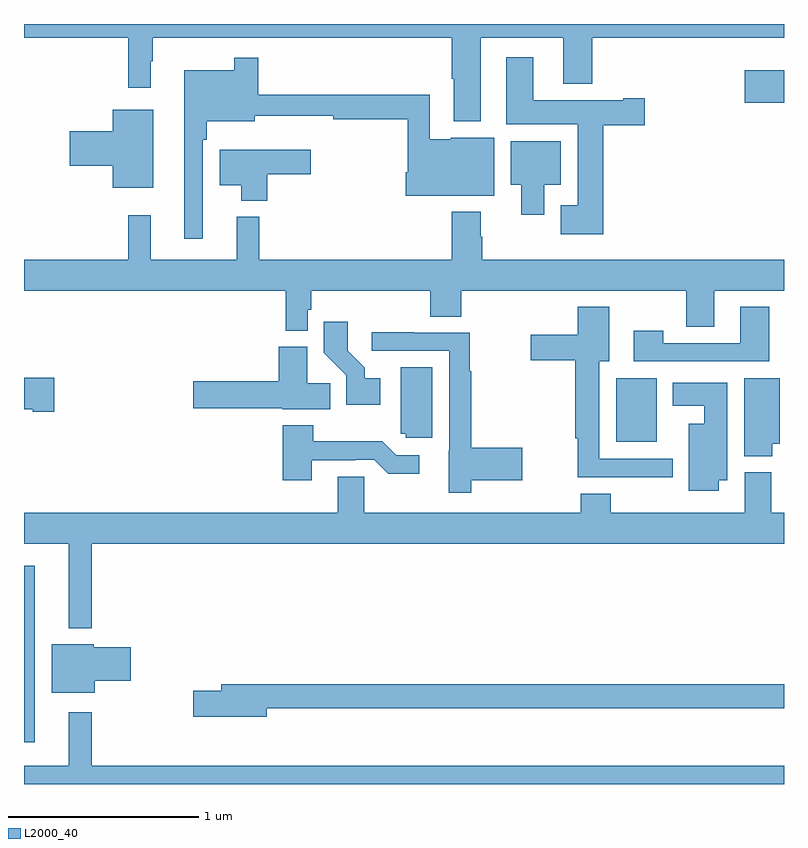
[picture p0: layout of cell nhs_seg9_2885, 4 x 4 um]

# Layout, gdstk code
import gdstk
lib = gdstk.Library(unit=1e-6, precision=1e-09)
def R(c, l, rs):  # rectangles x0, y0, x1, y1
    for r in rs: c.add(gdstk.rectangle(r[:2], r[2:], *l))
def P(c, l, *ps):  # polygons
    for p in ps: c.add(gdstk.Polygon(p, *l))
L2000_40 = (2000, 40)

nhs_seg9_2885 = lib.new_cell('nhs_seg9_2885')
R(nhs_seg9_2885, L2000_40, [(277,1184.721,277.057,1185.649), (280.118,1186.301,280.33,1186.636), (280.794,1188.086,281,1188.256)])
P(nhs_seg9_2885, L2000_40, [(279.403,1188.428),(279.839,1188.428),(279.839,1188.185),(279.992,1188.185),(279.992,1188.428),(281,1188.428),(281,1188.5),(277,1188.5),(277,1188.428),(277.549,1188.428),(277.549,1188.165),(277.666,1188.165),(277.666,1188.305),(277.678,1188.305),(277.678,1188.428),(279.251,1188.428),(279.251,1188.211),(279.263,1188.211),(279.263,1187.987),(279.403,1187.987)],
  [(280.049,1187.966),(280.267,1187.966),(280.267,1188.108),(280.154,1188.108),(280.154,1188.1),(279.679,1188.1),(279.679,1188.325),(279.539,1188.325),(279.539,1187.972),(279.914,1187.972),(279.914,1187.545),(279.824,1187.545),(279.824,1187.393),(280.049,1187.393)],
  [(277.941,1187.891),(277.961,1187.891),(277.961,1187.987),(278.215,1187.987),(278.215,1188.017),(278.627,1188.017),(278.627,1187.998),(279.019,1187.998),(279.019,1187.719),(279.008,1187.719),(279.008,1187.597),(279.475,1187.597),(279.475,1187.902),(279.246,1187.902),(279.246,1187.893),(279.135,1187.893),(279.135,1188.127),(278.234,1188.127),(278.234,1188.322),(278.106,1188.322),(278.106,1188.256),(277.844,1188.256),(277.844,1187.37),(277.941,1187.37)],
  [(277.681,1188.049),(277.466,1188.049),(277.466,1187.936),(277.242,1187.936),(277.242,1187.753),(277.466,1187.753),(277.466,1187.639),(277.681,1187.639)],
  [(279.739,1187.654),(279.826,1187.654),(279.826,1187.884),(279.563,1187.884),(279.563,1187.654),(279.617,1187.654),(279.617,1187.496),(279.739,1187.496)],
  [(278.279,1187.71),(278.509,1187.71),(278.509,1187.839),(278.03,1187.839),(278.03,1187.651),(278.144,1187.651),(278.144,1187.57),(278.279,1187.57)],
  [(278.493,1186.995),(278.513,1186.995),(278.513,1187.096),(279.137,1187.096),(279.137,1186.96),(279.302,1186.96),(279.302,1187.096),(280.486,1187.096),(280.486,1186.906),(280.633,1186.906),(280.633,1187.096),(281,1187.096),(281,1187.26),(279.411,1187.26),(279.411,1187.381),(279.403,1187.381),(279.403,1187.512),(279.251,1187.512),(279.251,1187.26),(278.237,1187.26),(278.237,1187.485),(278.12,1187.485),(278.12,1187.26),(277.667,1187.26),(277.667,1187.494),(277.549,1187.494),(277.549,1187.26),(277,1187.26),(277,1187.096),(278.377,1187.096),(278.377,1186.886),(278.493,1186.886)],
  [(280.922,1187.011),(280.769,1187.011),(280.769,1186.821),(280.365,1186.821),(280.365,1186.885),(280.209,1186.885),(280.209,1186.725),(280.922,1186.725)],
  [(280.414,1186.212),(280.027,1186.212),(280.027,1186.724),(280.081,1186.724),(280.081,1187.011),(279.914,1187.011),(279.914,1186.864),(279.666,1186.864),(279.666,1186.73),(279.902,1186.73),(279.902,1186.319),(279.914,1186.319),(279.914,1186.115),(280.414,1186.115)],
  [(278.875,1186.636),(278.794,1186.636),(278.794,1186.691),(278.704,1186.781),(278.704,1186.933),(278.578,1186.933),(278.578,1186.77),(278.697,1186.651),(278.697,1186.496),(278.875,1186.496)],
  [(279.353,1186.1),(279.622,1186.1),(279.622,1186.271),(279.353,1186.271),(279.353,1186.672),(279.346,1186.672),(279.346,1186.875),(279.053,1186.875),(279.053,1186.878),(278.829,1186.878),(278.829,1186.779),(279.237,1186.779),(279.237,1186.254),(279.236,1186.254),(279.236,1186.032),(279.353,1186.032)],
  [(278.612,1186.61),(278.491,1186.61),(278.491,1186.801),(278.342,1186.801),(278.342,1186.62),(277.89,1186.62),(277.89,1186.478),(278.358,1186.478),(278.358,1186.472),(278.612,1186.472)],
  [(279.148,1186.693),(278.984,1186.693),(278.984,1186.344),(279.009,1186.344),(279.009,1186.323),(279.148,1186.323)],
  [(277.159,1186.638),(277,1186.638),(277,1186.472),(277.046,1186.472),(277.046,1186.46),(277.159,1186.46)],
  [(280.937,1186.292),(280.978,1186.292),(280.978,1186.636),(280.79,1186.636),(280.79,1186.225),(280.937,1186.225)],
  [(280.657,1186.1),(280.702,1186.1),(280.702,1186.612),(280.415,1186.612),(280.415,1186.49),(280.58,1186.49),(280.58,1186.396),(280.499,1186.396),(280.499,1186.044),(280.657,1186.044)],
  [(278.515,1186.203),(278.744,1186.203),(278.744,1186.206),(278.844,1186.206),(278.917,1186.133),(279.079,1186.133),(279.079,1186.23),(278.958,1186.23),(278.885,1186.303),(278.523,1186.303),(278.523,1186.387),(278.363,1186.387),(278.363,1186.098),(278.515,1186.098)],
  [(277.357,1185.764),(281,1185.764),(281,1185.928),(280.934,1185.928),(280.934,1186.14),(280.793,1186.14),(280.793,1185.928),(280.089,1185.928),(280.089,1186.027),(279.929,1186.027),(279.929,1185.928),(278.79,1185.928),(278.79,1186.118),(278.651,1186.118),(278.651,1185.928),(277,1185.928),(277,1185.764),(277.235,1185.764),(277.235,1185.32),(277.357,1185.32)],
  [(277.372,1185.043),(277.561,1185.043),(277.561,1185.221),(277.368,1185.221),(277.368,1185.235),(277.145,1185.235),(277.145,1184.981),(277.372,1184.981)],
  [(278.278,1184.898),(281,1184.898),(281,1185.026),(278.039,1185.026),(278.039,1184.99),(277.89,1184.99),(277.89,1184.855),(278.278,1184.855)],
  [(281,1184.596),(277.357,1184.596),(277.357,1184.878),(277.235,1184.878),(277.235,1184.596),(277,1184.596),(277,1184.5),(281,1184.5)])

lib.write_gds('nhs_seg9_2885.gds')
